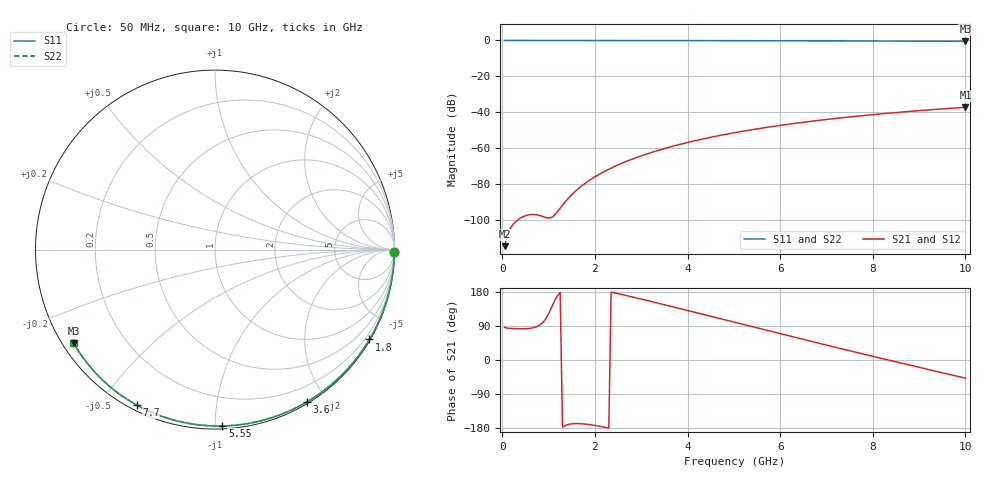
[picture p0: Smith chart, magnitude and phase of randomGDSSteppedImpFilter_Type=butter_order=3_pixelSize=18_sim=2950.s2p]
! freq	dB(S11)	phase(S11)	dB(S12)	phase(S12)
!  dB(S21)	phase(S21)	dB(S22)	phase(S22)
!S-par simulation data
#  GHz  S  DB  R 50
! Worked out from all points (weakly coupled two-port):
!   200 points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, 50 MHz to 10 GHz, reference 50 ohm
!   highest |S21| = -37.29 dB at 10 GHz (marker M1); lowest = -114.8 dB at 50 MHz (marker M2)
!   lowest |S11| = -0.5 dB at 10 GHz (marker M3), VSWR 35.16, Z = 1.55 - j15 ohm
!   |S11| at or under -10 dB: nowhere
!   |S22| runs from -0.5 to 0.0 dB; largest |S21 - S12| = 0
!   S11 on the Smith chart (normalised r, x): 50 MHz: open; 1.8 GHz: 0.03, -3.71; 3.6 GHz: 0.02, -1.77; 5.55 GHz: 0.02, -1.04; 7.7 GHz: 0.02, -0.62; 10 GHz: 0.03, -0.30
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0.05  -0.00 -0.9  -114.77 86.2  -114.77 86.2  -0.00 -0.9
0.45  -0.01 -7.7  -98.27 82.4  -98.27 82.4  -0.01 -7.7
0.9  -0.02 -15.2  -98.43 102.3  -98.43 102.3  -0.02 -15.3
1.3  -0.03 -21.9  -91.87 -177.0  -91.87 -177.0  -0.03 -21.9
1.75  -0.04 -29.4  -80.44 -168.6  -80.44 -168.6  -0.04 -29.4
1.8  -0.04 -30.2  -79.49 -169.2  -79.49 -169.2  -0.04 -30.2
1.95  -0.04 -32.6  -76.88 -171.7  -76.88 -171.7  -0.04 -32.7
2.1  -0.04 -35.1  -74.58 -174.8  -74.58 -174.8  -0.04 -35.1
2.3  -0.05 -38.3  -71.84 -179.7  -71.84 -179.7  -0.05 -38.3
2.5  -0.05 -41.5  -69.43 175.1  -69.43 175.1  -0.05 -41.6
2.9  -0.06 -47.9  -65.29 163.7  -65.29 163.7  -0.06 -48.0
3.4  -0.07 -55.7  -61.06 148.8  -61.06 148.8  -0.07 -55.8
3.6  -0.08 -58.8  -59.58 142.8  -59.58 142.8  -0.08 -58.9
4.3  -0.10 -69.4  -55.13 121.3  -55.13 121.3  -0.10 -69.5
5.05  -0.12 -80.4  -51.29 98.3  -51.29 98.3  -0.12 -80.5
5.55  -0.14 -87.6  -49.12 83.0  -49.12 83.0  -0.14 -87.7
6.1  -0.17 -95.3  -47.02 66.3  -47.02 66.3  -0.17 -95.3
6.7  -0.20 -103.5  -45.00 48.2  -45.00 48.2  -0.20 -103.5
7.7  -0.27 -116.8  -42.14 18.5  -42.14 18.5  -0.27 -116.9
8.35  -0.32 -125.2  -40.56 -0.5  -40.56 -0.5  -0.32 -125.3
9.2  -0.40 -136.2  -38.75 -25.0  -38.75 -25.0  -0.40 -136.3
10  -0.49 -146.5  -37.29 -47.9  -37.29 -47.9  -0.49 -146.6
